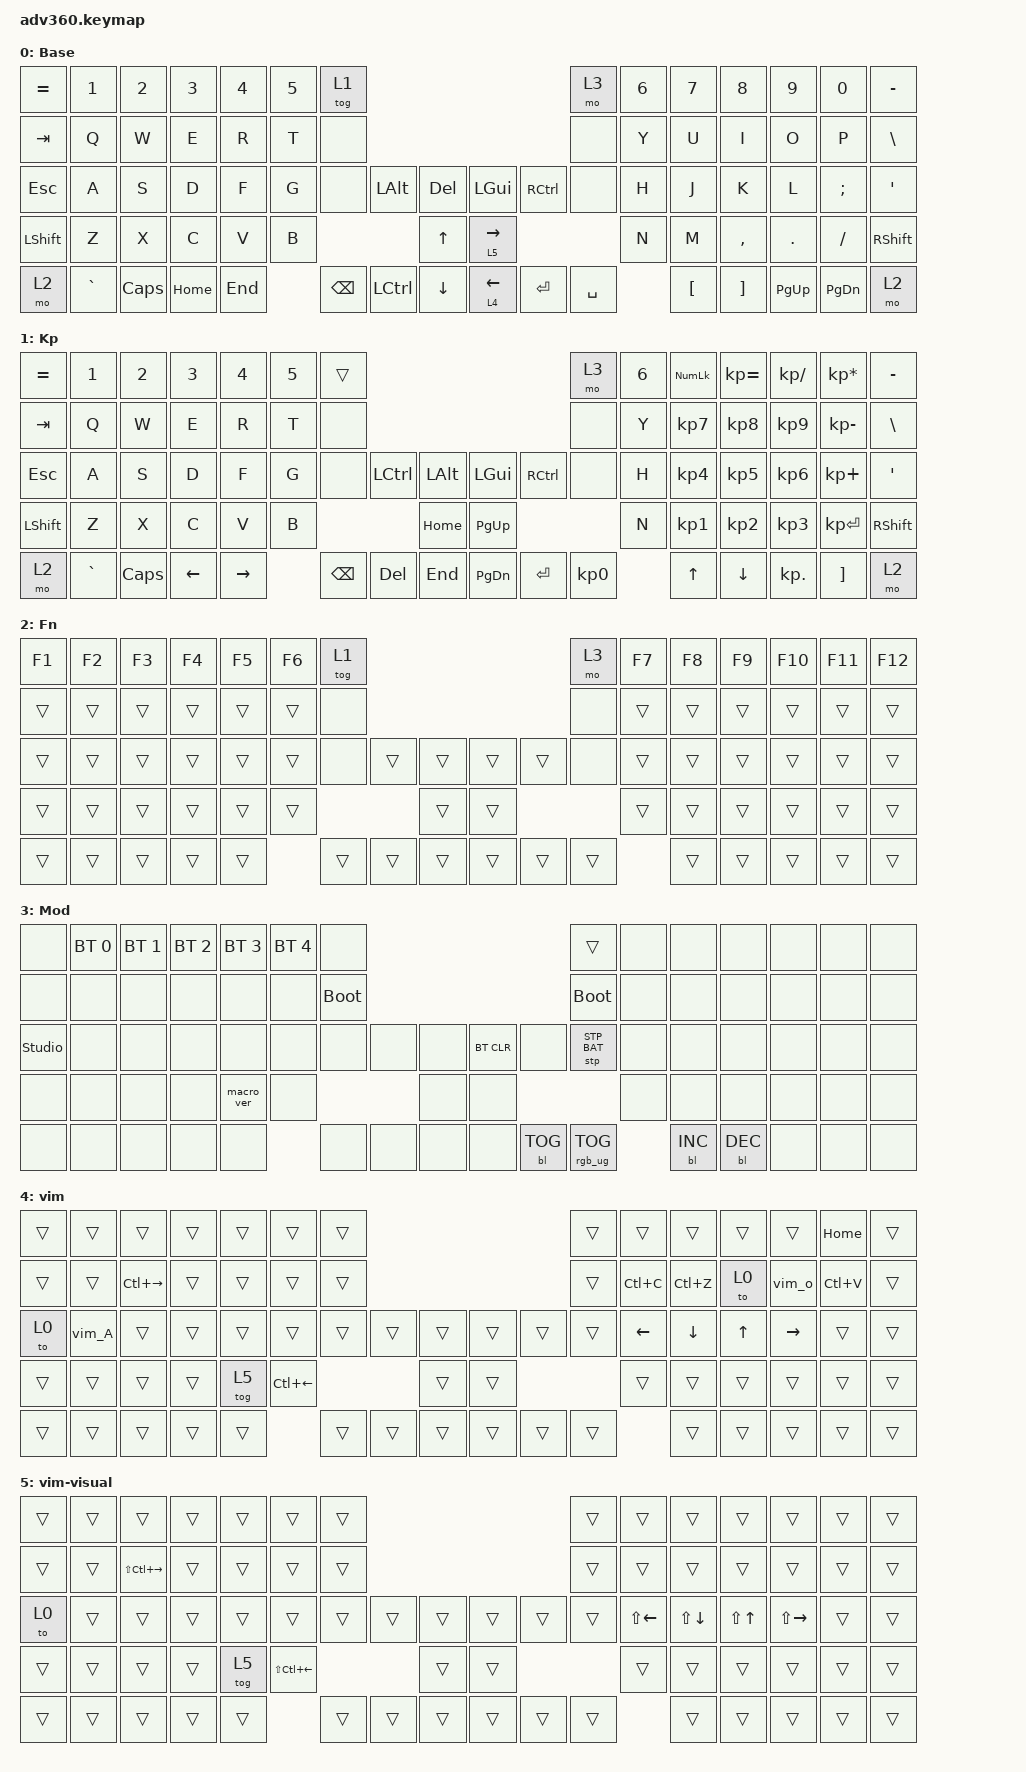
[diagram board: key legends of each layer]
#include <dt-bindings/zmk/stp.h>
#include <behaviors.dtsi>
#include <dt-bindings/zmk/backlight.h>
#include <dt-bindings/zmk/bt.h>
#include <dt-bindings/zmk/keys.h>
#include <dt-bindings/zmk/rgb.h>

/ {
    behaviors {
        #include "macros.dtsi"
      #include "version.dtsi"

        hm: homerow_mods {
            compatible = "zmk,behavior-hold-tap";
            label = "HOMEROW_MODS";
            #binding-cells = <2>;
            tapping-term-ms = <200>;
            quick_tap_ms = <175>;
            flavor = "tap-preferred";
            bindings = <&kp>, <&kp>;
        };
    };

    combos {
        compatible = "zmk,combos";

        vim {
            bindings = <&tog 4>;
            key-positions = <59 46>;
        };
    };

    macros {
        paranthesis: paranthesis {
            compatible = "zmk,behavior-macro";
            #binding-cells = <0>;
            bindings = <&kp LEFT_PARENTHESIS &kp RIGHT_PARENTHESIS &kp LEFT_ARROW>;
            label = "PARANTHESIS";
        };

        vim_o: vim_o {
            compatible = "zmk,behavior-macro";
            #binding-cells = <0>;
            bindings = <&kp END &kp ENTER &to 0>;
            label = "VIM_O";
        };

        vim_A: vim_A {
            compatible = "zmk,behavior-macro";
            #binding-cells = <0>;
            bindings = <&kp END &to 0>;
            label = "VIM_A";
        };
    };

    keymap {
        compatible = "zmk,keymap";

        default_layer {
            display-name = "Base";
            bindings = <
&kp EQUAL       &kp N1     &kp N2    &kp N3    &kp N4   &kp N5  &tog 1                                                                     &mo 3      &kp N6  &kp N7            &kp N8             &kp N9       &kp N0         &kp MINUS
&kp TAB         &kp Q      &kp W     &kp E     &kp R    &kp T   &none                                                                      &none      &kp Y   &kp U             &kp I              &kp O        &kp P          &kp BSLH
&kp ESC         &kp A      &kp S     &kp D     &kp F    &kp G   &none          &kp LEFT_ALT  &kp DELETE      &kp LGUI           &kp RCTRL  &none      &kp H   &kp J             &kp K              &kp L        &kp SEMI       &kp SQT
&kp LEFT_SHIFT  &kp Z      &kp X     &kp C     &kp V    &kp B                                &kp UP          &lt 5 RIGHT_ARROW                        &kp N   &kp M             &kp COMMA          &kp DOT      &kp FSLH       &kp RIGHT_SHIFT
&mo 2           &kp GRAVE  &kp CAPS  &kp HOME  &kp END          &kp BACKSPACE  &kp LCTRL     &kp DOWN        &lt 4 LEFT_ARROW   &kp ENTER  &kp SPACE          &kp LEFT_BRACKET  &kp RIGHT_BRACKET  &kp PAGE_UP  &kp PAGE_DOWN  &mo 2
            >;
        };

        keypad {
            display-name = "Kp";
            bindings = <
&kp EQUAL  &kp N1     &kp N2    &kp N3    &kp N4     &kp N5  &trans                                                   &mo 3      &kp N6  &kp KP_NUM  &kp KP_EQUAL  &kp KP_DIVIDE  &kp KP_MULTIPLY  &kp MINUS
&kp TAB    &kp Q      &kp W     &kp E     &kp R      &kp T   &none                                                    &none      &kp Y   &kp KP_N7   &kp KP_N8     &kp KP_N9      &kp KP_MINUS     &kp BSLH
&kp ESC    &kp A      &kp S     &kp D     &kp F      &kp G   &none     &kp LCTRL  &kp LALT      &kp LGUI   &kp RCTRL  &none      &kp H   &kp KP_N4   &kp KP_N5     &kp KP_N6      &kp KP_PLUS      &kp SQT
&kp LSHFT  &kp Z      &kp X     &kp C     &kp V      &kp B                        &kp HOME      &kp PG_UP                        &kp N   &kp KP_N1   &kp KP_N2     &kp KP_N3      &kp KP_ENTER     &kp RSHFT
&mo 2      &kp GRAVE  &kp CAPS  &kp LEFT  &kp RIGHT          &kp BSPC  &kp DEL    &kp END       &kp PG_DN  &kp ENTER  &kp KP_N0          &kp UP      &kp DOWN      &kp KP_DOT     &kp RBKT         &mo 2
            >;
        };

        fn {
            display-name = "Fn";
            bindings = <
&kp F1  &kp F2  &kp F3  &kp F4  &kp F5  &kp F6  &tog 1                                      &mo 3   &kp F7  &kp F8  &kp F9  &kp F10  &kp F11  &kp F12
&trans  &trans  &trans  &trans  &trans  &trans  &none                                       &none   &trans  &trans  &trans  &trans   &trans   &trans
&trans  &trans  &trans  &trans  &trans  &trans  &none   &trans  &trans      &trans  &trans  &none   &trans  &trans  &trans  &trans   &trans   &trans
&trans  &trans  &trans  &trans  &trans  &trans                  &trans      &trans                  &trans  &trans  &trans  &trans   &trans   &trans
&trans  &trans  &trans  &trans  &trans          &trans  &trans  &trans      &trans  &trans  &trans          &trans  &trans  &trans   &trans   &trans
            >;
        };

        mod {
            display-name = "Mod";
            bindings = <
&none           &bt BT_SEL 0  &bt BT_SEL 1  &bt BT_SEL 2  &bt BT_SEL 3  &bt BT_SEL 4  &none                                                  &trans           &none  &none       &none       &none  &none  &none
&none           &none         &none         &none         &none         &none         &bootloader                                            &bootloader      &none  &none       &none       &none  &none  &none
&studio_unlock  &none         &none         &none         &none         &none         &none        &none  &none      &bt BT_CLR  &none       &stp STP_BAT     &none  &none       &none       &none  &none  &none
&none           &none         &none         &none         &macro_ver    &none                             &none      &none                                    &none  &none       &none       &none  &none  &none
&none           &none         &none         &none         &none                       &none        &none  &none      &none       &bl BL_TOG  &rgb_ug RGB_TOG         &bl BL_INC  &bl BL_DEC  &none  &none  &none
            >;
        };

        vim {
            bindings = <
&trans  &trans  &trans               &trans  &trans  &trans              &trans                                      &trans  &trans          &trans          &trans        &trans           &kp HOME   &trans
&trans  &trans  &kp LC(RIGHT_ARROW)  &trans  &trans  &trans              &trans                                      &trans  &kp LC(C)       &kp LC(Z)       &to 0         &vim_o           &kp LC(V)  &trans
&to 0   &vim_A  &trans               &trans  &trans  &trans              &trans  &trans  &trans      &trans  &trans  &trans  &kp LEFT_ARROW  &kp DOWN_ARROW  &kp UP_ARROW  &kp RIGHT_ARROW  &trans     &trans
&trans  &trans  &trans               &trans  &tog 5  &kp LC(LEFT_ARROW)                  &trans      &trans                  &trans          &trans          &trans        &trans           &trans     &trans
&trans  &trans  &trans               &trans  &trans                      &trans  &trans  &trans      &trans  &trans  &trans                  &trans          &trans        &trans           &trans     &trans
            >;
        };

        vim-visual {
            bindings = <
&trans  &trans  &trans                   &trans  &trans  &trans                  &trans                                      &trans  &trans              &trans              &trans            &trans               &trans  &trans
&trans  &trans  &kp LS(LC(RIGHT_ARROW))  &trans  &trans  &trans                  &trans                                      &trans  &trans              &trans              &trans            &trans               &trans  &trans
&to 0   &trans  &trans                   &trans  &trans  &trans                  &trans  &trans  &trans      &trans  &trans  &trans  &kp LS(LEFT_ARROW)  &kp LS(DOWN_ARROW)  &kp LS(UP_ARROW)  &kp LS(RIGHT_ARROW)  &trans  &trans
&trans  &trans  &trans                   &trans  &tog 5  &kp LS(LC(LEFT_ARROW))                  &trans      &trans                  &trans              &trans              &trans            &trans               &trans  &trans
&trans  &trans  &trans                   &trans  &trans                          &trans  &trans  &trans      &trans  &trans  &trans                      &trans              &trans            &trans               &trans  &trans
            >;
        };
    };
};
